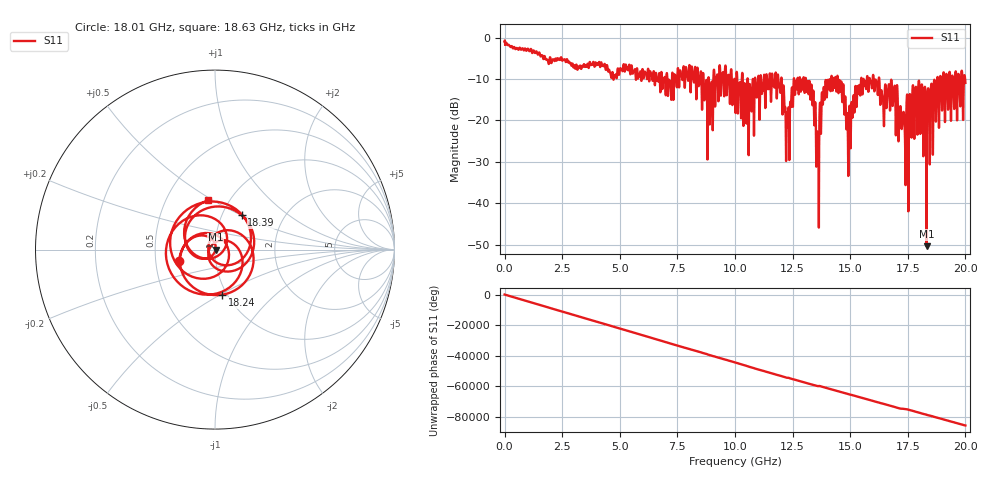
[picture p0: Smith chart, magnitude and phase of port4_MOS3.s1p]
! MS46122B
! 2250307/22442219
! 6/13/2025 8:46:15 AM
! C:\USERS\SPARKY\DOCUMENTS\VNA_DATA\JUNE13_2025\PORT4_MOS3.S1P
! CHANNEL.1
! TR.MEASUREMENT
! RAW.DATA
# GHZ S RI R 50.0
! FREQ.GHZ  S11RE  S11IM
!; PortSelection: Port_1
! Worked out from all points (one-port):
!   10001 points, 1 MHz to 20 GHz, reference 50 ohm
!   lowest |S11| = -50.3 dB at 18.31 GHz (marker M1), VSWR 1.01, Z = 50.3 - j0.0363 ohm
!   |S11| at or under -10 dB: 13.08 GHz to 14.18 GHz (1.1 GHz wide, 8.07 % of centre); 14.46 GHz to 15.47 GHz (1.011 GHz wide, 6.75 % of centre); 16.26 GHz to 18.78 GHz (2.514 GHz wide, 14.4 % of centre) (the widest 3 of 75)
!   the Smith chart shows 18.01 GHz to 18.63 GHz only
!   S11 on the Smith chart (normalised r, x): 18.01 GHz: 0.66, -0.09; 18.24 GHz: 0.95, -0.51; 18.39 GHz: 1.24, +0.50; 18.63 GHz: 0.80, +0.48
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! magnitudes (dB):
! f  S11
! 1 MHz  -0.9
! 2.501 GHz  -5.6
! 5.001 GHz  -7.8
! 7.501 GHz  -8.8
! 8.445 GHz  -11.2
! 8.875 GHz  -11.8
! 9.403 GHz  -11.5
! 10 GHz  -11.7
! 10.66 GHz  -13.0
! 11.94 GHz  -11.3
! 12.28 GHz  -21.6
! 12.5 GHz  -15.2
! 13.24 GHz  -10.5
! 13.58 GHz  -26.3
! 13.85 GHz  -12.0
! 14.11 GHz  -10.1
! 14.62 GHz  -10.7
! 15 GHz  -21.0
! 15.31 GHz  -12.4
! 15.92 GHz  -11.1
! 17.32 GHz  -18.1
! 17.5 GHz  -17.1
! 18.01 GHz  -13.6
! 18.24 GHz  -11.9
! 18.31 GHz  -50.3
! 18.39 GHz  -12.3
! 18.63 GHz  -11.1
! 20 GHz  -10.9
